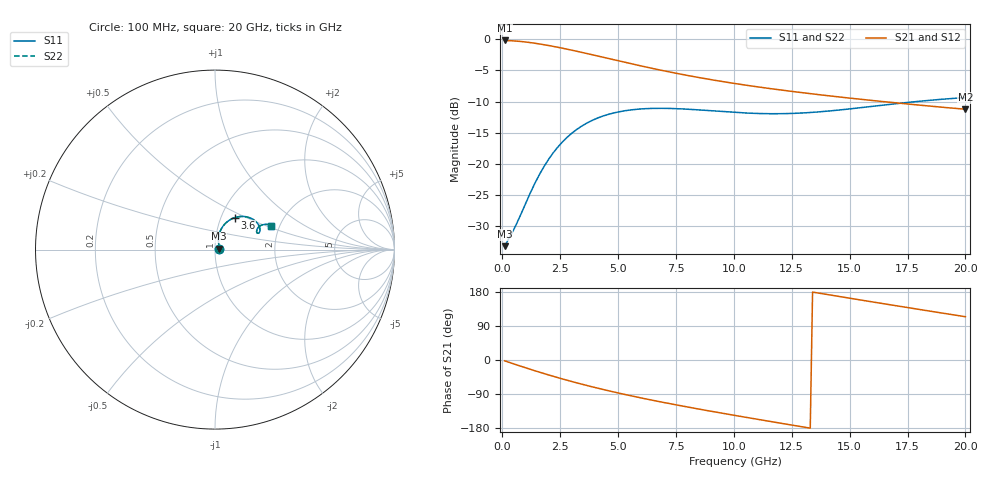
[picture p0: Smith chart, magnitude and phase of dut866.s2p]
! Touchstone file exported from HFSS 2024.1.0
!  File:  C:/UserFiles/LocalFiles/RDL_TSV_Batchsim/temp_RDL_TSV_866_1779926541.aedt
!  Generated:  08:17:48 AM May 28, 2026
!  Design:  RDL_TSV
!  Project:  temp_RDL_TSV_866_1779926541
!  Setup:  Setup1
!  Solution:  Sweep
! Variables:
!  dtsv = 8.26um
!  hbump = 3um
!  htsv = 80um
!  ldown = 327.72um
!  lrdl = 648.69um
!  p = 40
!  p1 = 55.06um
!  rhole = 10um
!  subl = 3577.92um
!  t = 450um
!  tdown = 2.32um
!  trdl = 4.52um
!  viad = 10um
!  wdown = 11.42um
!  wrdl = 27.09um
!  xbump = 18um
# GHz S MA R 50.000000
! Terminal data exported
! Port[1] = TM1_1_T1
! Port[2] = TM1_4_T1
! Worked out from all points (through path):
!   200 points, 100 MHz to 20 GHz, reference 50 ohm
!   highest |S21| = -0.19 dB at 100 MHz (marker M1); lowest = -11.2 dB at 20 GHz (marker M2)
!   group delay of S21, straight-line fit = 32.2 ps
!   lowest |S11| = -33.2 dB at 100 MHz (marker M3), VSWR 1.04, Z = 52.2 + j0.491 ohm
!   |S11| at or under -10 dB: start of sweep to 17.88 GHz
!   |S22| runs from -33.2 to -9.4 dB; largest |S21 - S12| = 1.9e-14
!   S11 on the Smith chart (normalised r, x): 100 MHz: 1.04, +0.01; 3.6 GHz: 1.16, +0.43; 20 GHz: 1.81, +0.55
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0.1  0.02185 12.4  0.9783 -2.1  0.9783 -2.1  0.02185 12.4
! Gamma 0 0 0 0
! Port Impedance 50 0 50 0
0.5  0.02982 43.2  0.9699 -10.4  0.9699 -10.4  0.02982 43.2
0.9  0.0433 62.7  0.9556 -18.5  0.9556 -18.5  0.04331 62.6
1.4  0.06935 73.3  0.93 -28.2  0.93 -28.2  0.06933 73.2
1.8  0.09509 74.8  0.9049 -35.8  0.9049 -35.8  0.09501 74.7
2.2  0.1227 73.0  0.8772 -43.1  0.8772 -43.1  0.1225 72.9
2.6  0.1501 69.5  0.8479 -50.1  0.8479 -50.1  0.1499 69.4
3  0.176 65.2  0.8178 -56.8  0.8178 -56.8  0.1757 65.1
3.5  0.2047 59.4  0.78 -64.9  0.78 -64.9  0.2043 59.3
3.6  0.2098 58.2  0.7725 -66.4  0.7725 -66.4  0.2094 58.2
4.3  0.2402 50.3  0.721 -77.0  0.721 -77.0  0.2397 50.3
5.2  0.2651 41.3  0.6595 -89.7  0.6595 -89.7  0.2645 41.3
6  0.2761 34.7  0.6105 -100.2  0.6105 -100.2  0.2753 34.6
6.8  0.2792 29.4  0.5672 -110.1  0.5672 -110.1  0.2783 29.4
8.3  0.2725 23.0  0.5003 -127.4  0.5003 -127.4  0.2715 23.0
10.1  0.2585 20.8  0.4398 -146.8  0.4398 -146.8  0.2574 20.7
11.7  0.2525 22.4  0.3989 -163.5  0.3989 -163.5  0.2515 22.4
13.4  0.2591 25.4  0.3642 179.2  0.3642 179.2  0.2582 25.5
15.1  0.2773 27.4  0.3356 162.1  0.3356 162.1  0.2766 27.5
16.7  0.2998 27.5  0.3126 146.2  0.3126 146.2  0.2991 27.6
18.3  0.3217 25.9  0.2927 130.6  0.2927 130.6  0.3212 26.0
20  0.3405 23.1  0.2745 114.2  0.2745 114.2  0.34 23.2
